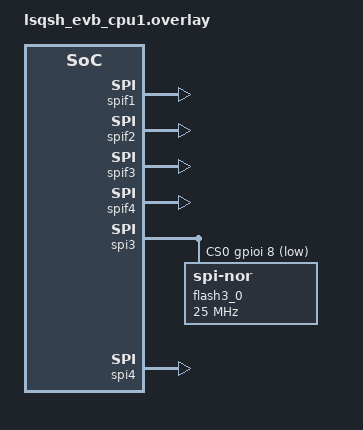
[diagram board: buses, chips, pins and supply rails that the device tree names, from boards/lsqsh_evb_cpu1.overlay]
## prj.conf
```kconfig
CONFIG_SPI_FILTER_LINKEDSEMI=y
CONFIG_SPI=y
CONFIG_FLASH=y
CONFIG_LOG=y
CONFIG_SHELL=y

CONFIG_LOG_BUFFER_SIZE=65536
CONFIG_SHELL_BACKEND_SERIAL_LOG_MESSAGE_QUEUE_SIZE=4096
```

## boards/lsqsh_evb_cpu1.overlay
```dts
#include "lsqsh_pinctrl_pfr_tpm.dtsi"

/ {
    aliases {
        spif = &spif3;
    };
};

&spif1 {
    status = "okay";
};

&spif2 {
    status = "okay";
};

&spif3 {
    status = "okay";
};

&spif4 {
    status = "okay";
};

&spi3 {
    cs-gpios = <&gpioi 8 GPIO_ACTIVE_LOW>,
                <&gpiog 2 GPIO_ACTIVE_LOW>;
    pinctrl-0 = <>;
    pinctrl-names = "default";
    status = "okay";

    flash3_0: flash3@0 {
        compatible = "jedec,spi-nor";
        reg = <0>;
        spi-max-frequency = <DT_FREQ_M(25)>;
        re-init-support;
    };
};

&spi4 {
    cs-gpios = <&gpioi 0 GPIO_ACTIVE_LOW>,
                <&gpioq 0 GPIO_ACTIVE_LOW>;
    pinctrl-0 = <>;
    pinctrl-names = "default";
    status = "okay";
};

&dmac1 {
    status = "okay";
};
```

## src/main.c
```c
/*
 * Copyright (c) 2024 Linkedsemi
 *
 * SPDX-License-Identifier: Apache-2.0
 */

#if !defined(CONFIG_SPI_FILTER_LINKEDSEMI)
    #error no CONFIG_SPI_FILTER_LINKEDSEMI define
#endif

#include <zephyr/drivers/spi.h>
#include <zephyr/drivers/spi_nor.h>
#include <zephyr/kernel.h>
#include <stdlib.h>
#include <stdio.h>
#include <zephyr/kernel.h>
#include <zephyr/drivers/spi.h>
#include <zephyr/drivers/flash.h>
#include <reg_spi_filter.h>
#include <spi_filter.h>

uint8_t buf_r[4096];

int test(void)
{
    do {
        uint8_t id[3] = { 0 };
        const struct device *const flash_dev = DEVICE_DT_GET(DT_NODELABEL(flash3_0));
        // spi_nor_re_init(flash_dev);
        int rc = flash_read_jedec_id(flash_dev, id);
        if (rc == 0) {
            printk("jedec-id = [%02x %02x %02x];\n", id[0], id[1], id[2]);
        } else {
            printk("JEDEC ID read failed: %d\n", rc);
        }

        // flash_read(flash_dev, MB(16), buf_r, sizeof(buf_r));
    } while(0);

    return 0;
}

int main(void)
{
    const struct device *const spifilter = DEVICE_DT_GET(DT_ALIAS(spif));
    bool check;

    linkedsemi_spi_filter_cold_reset(spifilter);
    spif_dump_cmd_table(spifilter);
    spif_dump_rw_addr_privilege_table(spifilter);
    // spif_add_cmd(spifilter, CMD_READ);
    spif_dump_cmd_table(spifilter);
    spif_dump_rw_addr_privilege_table(spifilter);

    spi_filter_dma_thread_init(spifilter);
    spif_dma_start(spifilter);
    spif_filter_enable(spifilter, true);
    check = spif_pinctrl_filter_mode_check(spifilter);
    __ASSERT_NO_MSG(check);
    spif_passthrough_analog_mux_enable(spifilter, true);
    check = spif_pinctrl_passthrough_mode_check(spifilter);
    __ASSERT_NO_MSG(check);

    do {
        const struct device *const spifilter = DEVICE_DT_GET(DT_NODELABEL(spif1));
        // linkedsemi_spi_filter_cold_reset(spifilter);
        spif_switch_to_master(spifilter);
        check = spif_pinctrl_master_mode_check(spifilter);
        __ASSERT_NO_MSG(check);
#if 0
#if 1
        spif_switch_to_filter(spifilter);
        check = spif_pinctrl_filter_mode_check(spifilter);
        __ASSERT_NO_MSG(check);
#endif

        const struct device *const spifilter2 = DEVICE_DT_GET(DT_NODELABEL(spif2));
        spif_switch_to_master(spifilter2);
        check = spif_pinctrl_master_mode_check(spifilter2);
        __ASSERT_NO_MSG(check);

        spif_switch_to_filter(spifilter2);
        check = spif_pinctrl_filter_mode_check(spifilter2);
        __ASSERT_NO_MSG(check);

        spif_switch_to_master(spifilter);
        check = spif_pinctrl_master_mode_check(spifilter);
        __ASSERT_NO_MSG(check);
#endif
    } while (0);

    bool flag = false;
    for (int i = 0; i < 5; i ++) {
        test();

        spif_operation_mode_config(spifilter, flag);
        flag = !flag;
    }

    return 0;
}
```
